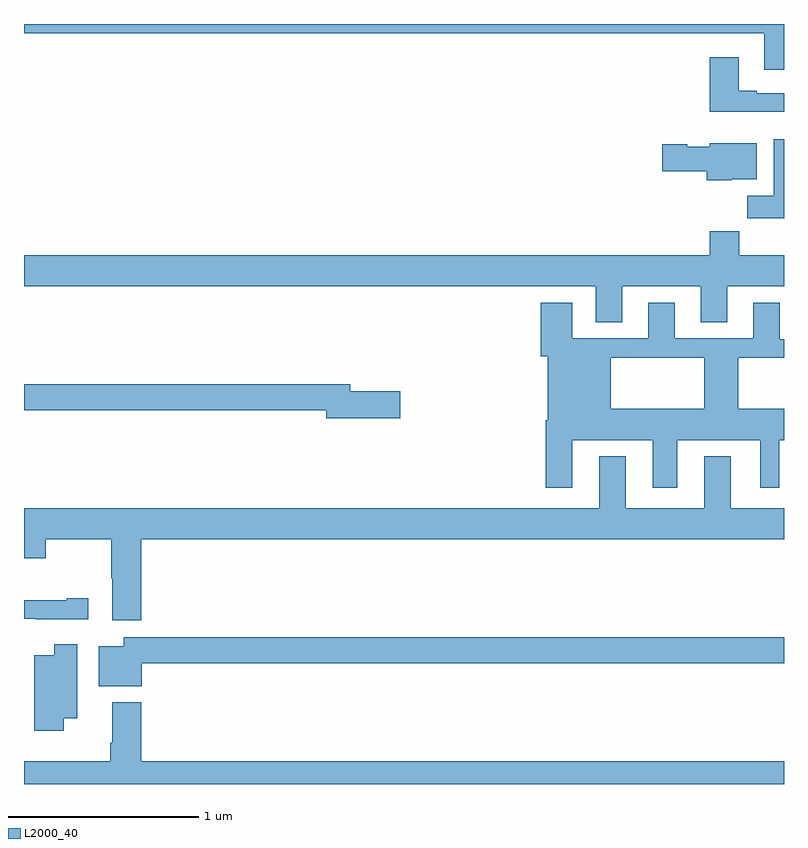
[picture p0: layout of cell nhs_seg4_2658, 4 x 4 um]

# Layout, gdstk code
import gdstk
lib = gdstk.Library(unit=1e-6, precision=1e-09)
def P(c, l, *ps):  # polygons
    for p in ps: c.add(gdstk.Polygon(p, *l))
L2000_40 = (2000, 40)

nhs_seg4_2658 = lib.new_cell('nhs_seg4_2658')
P(nhs_seg4_2658, L2000_40, [(255,764.9),(251,764.9),(251,764.852),(254.897,764.852),(254.897,764.658),(255,764.658)],
  [(255,764.535),(254.857,764.535),(254.857,764.548),(254.761,764.548),(254.761,764.725),(254.609,764.725),(254.609,764.438),(255,764.438)],
  [(255,764.293),(254.945,764.293),(254.945,763.996),(254.806,763.996),(254.806,763.878),(255,763.878)],
  [(254.724,764.084),(254.857,764.084),(254.857,764.272),(254.61,764.272),(254.61,764.254),(254.49,764.254),(254.49,764.267),(254.358,764.267),(254.358,764.125),(254.594,764.125),(254.594,764.078),(254.724,764.078)],
  [(254.149,763.52),(254.561,763.52),(254.561,763.33),(254.701,763.33),(254.701,763.52),(255,763.52),(255,763.684),(254.765,763.684),(254.765,763.808),(254.609,763.808),(254.609,763.684),(251,763.684),(251,763.52),(254.009,763.52),(254.009,763.33),(254.149,763.33)],
  [(253.745,762.814),(253.745,762.459),(253.885,762.459),(253.885,762.71),(254.309,762.71),(254.309,762.459),(254.437,762.459),(254.437,762.71),(254.876,762.71),(254.876,762.459),(254.974,762.459),(254.974,762.71),(255,762.71),(255,762.874),(254.759,762.874),(254.759,763.144),(255,763.144),(255,763.242),(254.977,763.242),(254.977,763.432),(254.837,763.432),(254.837,763.245),(254.425,763.245),(254.425,763.432),(254.285,763.432),(254.285,763.245),(253.885,763.245),(253.885,763.432),(253.721,763.432),(253.721,763.152),(253.757,763.152),(253.757,762.874),(254.089,762.874),(254.089,763.144),(254.581,763.144),(254.581,762.874),(254.089,762.874),(253.757,762.874),(253.757,762.814)],
  [(252.979,762.968),(252.718,762.968),(252.718,763.004),(251,763.004),(251,762.868),(252.59,762.868),(252.59,762.826),(252.979,762.826)],
  [(251.618,762.188),(255,762.188),(255,762.352),(254.719,762.352),(254.719,762.625),(254.579,762.625),(254.579,762.352),(254.167,762.352),(254.167,762.625),(254.027,762.625),(254.027,762.352),(251,762.352),(251,762.089),(251.115,762.089),(251.115,762.188),(251.458,762.188),(251.458,761.984),(251.465,761.984),(251.465,761.763),(251.618,761.763)],
  [(251.338,761.878),(251.225,761.878),(251.225,761.868),(251,761.868),(251,761.769),(251.062,761.769),(251.062,761.768),(251.338,761.768)],
  [(251.62,761.536),(255,761.536),(255,761.672),(251.526,761.672),(251.526,761.626),(251.393,761.626),(251.393,761.414),(251.62,761.414)],
  [(251.209,761.246),(251.281,761.246),(251.281,761.635),(251.159,761.635),(251.159,761.578),(251.054,761.578),(251.054,761.181),(251.209,761.181)],
  [(255,761.02),(251.618,761.02),(251.618,761.329),(251.465,761.329),(251.465,761.116),(251.453,761.116),(251.453,761.02),(251,761.02),(251,760.9),(255,760.9)])

lib.write_gds('nhs_seg4_2658.gds')
